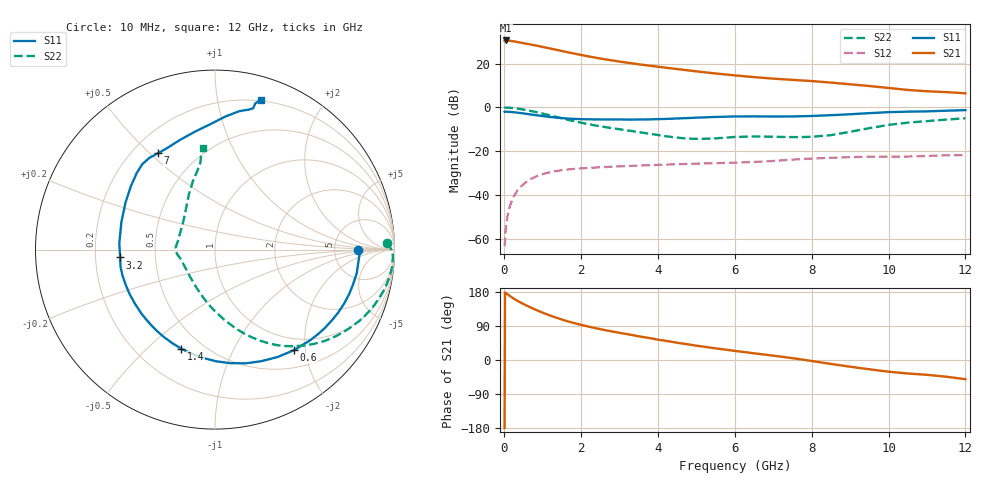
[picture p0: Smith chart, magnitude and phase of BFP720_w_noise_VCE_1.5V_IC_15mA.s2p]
! (c) 2012  Infineon Technologies AG, Munich
! Infineon Technologies  Discrete & RF Semiconductors
! BFP720
! VCE =  1.5 V,  IC =  15 mA
! Common Emitter S-Parameters:  Aug 2012
# GHz  S  MA  R  50
!  f  S11  S21  S12  S22
! GHz  MAG  ANG  MAG  ANG  MAG  ANG  MAG  ANG
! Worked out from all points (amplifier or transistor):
!   105 points, 10 MHz to 12 GHz, reference 50 ohm
!   highest |S21| = 30.5 dB at 50 MHz (marker M1)
!   |S21| within 3 dB of that: start of sweep to 1.015 GHz
!   unconditionally stable (mu >= 1): start of sweep to 13.52 MHz; 4.795 GHz to 11.29 GHz
!   at 300 MHz: K = 0.12, MSG = 34.4 dB, |S12| = -38.9 dB
!   at 3.6 GHz: K = 0.82, MSG = 22.9 dB, |S12| = -26.4 dB
!   at 12 GHz: K = 0.83, MSG = 14.1 dB, |S12| = -21.7 dB
!   lowest NFmin = 0.63 dB at 450 MHz
!   S11 on the Smith chart (normalised r, x): 10 MHz: 8.82, +0.00; 600 MHz: 0.79, -1.79; 1.4 GHz: 0.38, -0.64; 3.2 GHz: 0.31, -0.04; 7 GHz: 0.30, +0.53; 12 GHz: 0.19, +1.33
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0.01  0.7963 0.0  32.81 -179.7  0.0007 1.8  0.9589 2.3
0.02  0.8057 -1.9  33.17 178.3  0.0009 72.9  0.9888 -0.5
0.05  0.802 -4.7  33.48 176.1  0.0021 93.9  0.9919 -2.4
0.15  0.7936 -14.0  32.91 168.7  0.0058 82.7  0.9854 -8.4
0.3  0.7711 -27.0  31.36 158.9  0.0113 75.9  0.953 -16.5
0.45  0.7424 -39.5  29.66 150.4  0.0164 70.0  0.9118 -24.0
0.6  0.7126 -51.8  28.04 142.8  0.021 64.4  0.863 -31.0
0.8  0.6731 -67.5  25.94 133.4  0.0263 57.5  0.7969 -39.6
1  0.6385 -82.3  23.86 124.9  0.0305 51.4  0.7268 -47.4
1.2  0.6075 -96.1  21.95 117.2  0.0338 46.0  0.6598 -54.5
1.4  0.5835 -108.7  20.13 110.1  0.0364 41.7  0.5971 -60.6
1.7  0.5571 -125.3  17.71 100.7  0.0392 36.2  0.5153 -68.7
2.1  0.5399 -142.3  15.07 90.4  0.0417 31.3  0.4329 -77.5
2.6  0.5348 -158.5  12.57 79.3  0.0441 26.9  0.3611 -87.0
3.2  0.5306 -175.3  10.46 68.2  0.0465 23.3  0.3012 -97.7
4.1  0.5461 161.1  8.247 52.2  0.0498 19.3  0.2296 -118.4
5  0.5871 142.9  6.637 37.7  0.0527 15.8  0.1934 -150.4
6.1  0.6255 129.4  5.276 22.8  0.056 13.4  0.2145 -175.3
7  0.6234 120.6  4.536 11.4  0.0608 12.6  0.2161 173.4
8.5  0.6677 99.3  3.684 -10.4  0.0716 4.2  0.2352 138.7
10.5  0.8037 76.2  2.508 -35.6  0.0766 -7.7  0.4523 102.4
12  0.8706 73.0  2.101 -50.6  0.0826 -16.0  0.5688 96.5
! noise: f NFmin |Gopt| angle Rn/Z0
0.45  0.63  0.22  1  0.43
1.8  0.7  0.22  14  0.13
2.4  0.75  0.2  22  0.38
5.5  0.93  0.1  -30  0.18
10  1.11  0.44  -74  0.27
